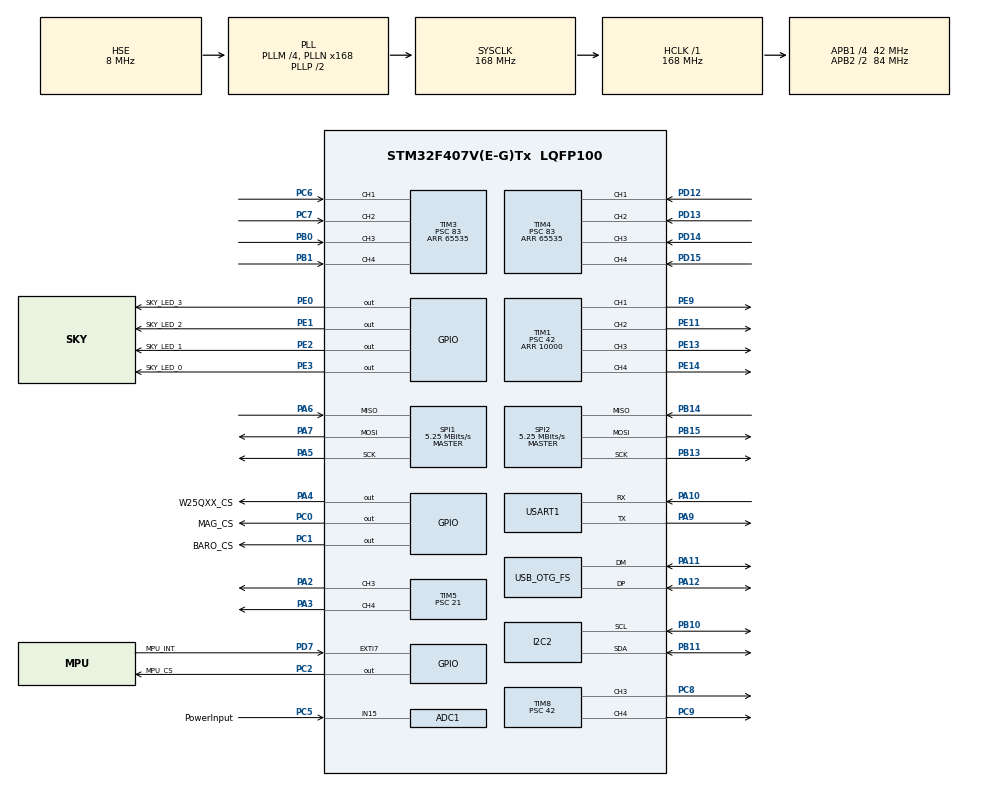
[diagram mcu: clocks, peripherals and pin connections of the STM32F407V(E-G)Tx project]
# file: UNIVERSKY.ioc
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ADC1.Channel-0\#ChannelRegularConversion=ADC_CHANNEL_15
ADC1.Channel-1\#ChannelInjectedConversion=ADC_CHANNEL_15
ADC1.ClockPrescaler=ADC_CLOCK_SYNC_PCLK_DIV4
ADC1.ContinuousConvMode=ENABLE
ADC1.DMAContinuousRequests=DISABLE
ADC1.DataAlign=ADC_DATAALIGN_RIGHT
ADC1.DiscontinuousConvMode=DISABLE
ADC1.EOCSelection=ADC_EOC_SINGLE_CONV
ADC1.EnableAnalogWatchDog=false
ADC1.ExternalTrigConv=ADC_SOFTWARE_START
ADC1.ExternalTrigConvEdge=ADC_EXTERNALTRIGCONVEDGE_NONE
ADC1.InjNumberOfConversion=1
ADC1.InjectedOffset-1\#ChannelInjectedConversion=0
ADC1.NbrOfConversion=1
ADC1.NbrOfConversionFlag=1
ADC1.Rank-0\#ChannelRegularConversion=1
ADC1.Rank-1\#ChannelInjectedConversion=1
ADC1.Resolution=ADC_RESOLUTION_12B
ADC1.SamplingTime-0\#ChannelRegularConversion=ADC_SAMPLETIME_3CYCLES
ADC1.SamplingTime-1\#ChannelInjectedConversion=ADC_SAMPLETIME_3CYCLES
ADC1.ScanConvMode=DISABLE
ADC1.master=1
FREERTOS.INCLUDE_uxTaskGetStackHighWaterMark=1
FREERTOS.INCLUDE_vTaskDelayUntil=1
FREERTOS.Tasks01=mainTask,-3,128,startMainTask,Default,NULL,Dynamic,NULL,NULL
FREERTOS.configMAX_PRIORITIES=15
FREERTOS.configUSE_TIMERS=1
I2C2.I2C_Mode=I2C_Fast
Mcu.Family=STM32F4
Mcu.Name=STM32F407V(E-G)Tx
Mcu.Package=LQFP100
NVIC.OTG_FS_IRQn=true\:15\:0\:true\:false\:true\:true\:false
NVIC.PriorityGroup=NVIC_PRIORITYGROUP_4
NVIC.TIM3_IRQn=true\:5\:0\:false\:false\:true\:true\:true
NVIC.TIM4_IRQn=true\:5\:0\:false\:false\:true\:true\:true
NVIC.TIM8_TRG_COM_TIM14_IRQn=true\:0\:0\:false\:false\:true\:false\:false
NVIC.TimeBase=TIM8_TRG_COM_TIM14_IRQn
NVIC.TimeBaseIP=TIM14
NVIC.USART1_IRQn=true\:6\:0\:true\:false\:true\:true\:true
PA10.Mode=Asynchronous
PA10.Signal=USART1_RX
PA11.Mode=Device_Only
PA11.Signal=USB_OTG_FS_DM
PA12.Mode=Device_Only
PA12.Signal=USB_OTG_FS_DP
PA13.Mode=Serial_Wire
PA13.Signal=SYS_JTMS-SWDIO
PA14.Mode=Serial_Wire
PA14.Signal=SYS_JTCK-SWCLK
PA2.Signal=S_TIM5_CH3
PA3.Signal=S_TIM5_CH4
PA4.GPIO_Label=W25QXX_CS
PA4.GPIO_PuPd=GPIO_PULLUP
PA4.Signal=GPIO_Output
PA5.Mode=Full_Duplex_Master
PA5.Signal=SPI1_SCK
PA6.Mode=Full_Duplex_Master
PA6.Signal=SPI1_MISO
PA7.Mode=Full_Duplex_Master
PA7.Signal=SPI1_MOSI
PA9.Mode=Asynchronous
PA9.Signal=USART1_TX
PB0.GPIO_PuPd=GPIO_PULLDOWN
PB0.GPIO_Speed=GPIO_SPEED_FREQ_VERY_HIGH
PB0.Signal=S_TIM3_CH3
PB1.GPIO_PuPd=GPIO_PULLDOWN
PB1.GPIO_Speed=GPIO_SPEED_FREQ_VERY_HIGH
PB1.Signal=S_TIM3_CH4
PB10.Mode=I2C
PB10.Signal=I2C2_SCL
PB11.Mode=I2C
PB11.Signal=I2C2_SDA
PB13.Mode=Full_Duplex_Master
PB13.Signal=SPI2_SCK
PB14.Mode=Full_Duplex_Master
PB14.Signal=SPI2_MISO
PB15.Mode=Full_Duplex_Master
PB15.Signal=SPI2_MOSI
PC0.GPIO_Label=MAG_CS
PC0.Signal=GPIO_Output
PC1.GPIO_Label=BARO_CS
PC1.Signal=GPIO_Output
PC2.GPIO_Label=MPU_CS
PC2.Signal=GPIO_Output
PC5.GPIO_Label=PowerInput
PC5.Signal=ADCx_IN15
PC6.GPIO_PuPd=GPIO_PULLDOWN
PC6.GPIO_Speed=GPIO_SPEED_FREQ_VERY_HIGH
PC6.Signal=S_TIM3_CH1
PC7.GPIO_PuPd=GPIO_PULLDOWN
PC7.GPIO_Speed=GPIO_SPEED_FREQ_VERY_HIGH
PC7.Signal=S_TIM3_CH2
PC8.Signal=S_TIM8_CH3
PC9.Signal=S_TIM8_CH4
PD12.GPIO_PuPd=GPIO_PULLDOWN
PD12.GPIO_Speed=GPIO_SPEED_FREQ_VERY_HIGH
PD12.Signal=S_TIM4_CH1
PD13.GPIO_PuPd=GPIO_PULLDOWN
PD13.GPIO_Speed=GPIO_SPEED_FREQ_VERY_HIGH
PD13.Signal=S_TIM4_CH2
PD14.GPIO_PuPd=GPIO_PULLDOWN
PD14.GPIO_Speed=GPIO_SPEED_FREQ_VERY_HIGH
PD14.Signal=S_TIM4_CH3
PD15.GPIO_PuPd=GPIO_PULLDOWN
PD15.GPIO_Speed=GPIO_SPEED_FREQ_VERY_HIGH
PD15.Signal=S_TIM4_CH4
PD7.GPIO_Label=MPU_INT
PD7.Signal=GPXTI7
PE0.GPIO_Label=SKY_LED_3
PE0.GPIO_PuPd=GPIO_PULLUP
PE0.GPIO_Speed=GPIO_SPEED_FREQ_HIGH
PE0.Signal=GPIO_Output
PE1.GPIO_Label=SKY_LED_2
PE1.GPIO_PuPd=GPIO_PULLUP
PE1.GPIO_Speed=GPIO_SPEED_FREQ_HIGH
PE1.Signal=GPIO_Output
PE11.Signal=S_TIM1_CH2
PE13.Signal=S_TIM1_CH3
PE14.Signal=S_TIM1_CH4
PE2.GPIO_Label=SKY_LED_1
PE2.GPIO_PuPd=GPIO_PULLUP
PE2.GPIO_Speed=GPIO_SPEED_FREQ_HIGH
PE2.Signal=GPIO_Output
PE3.GPIO_Label=SKY_LED_0
PE3.GPIO_ModeDefaultOutputPP=GPIO_MODE_OUTPUT_OD
PE3.GPIO_Speed=GPIO_SPEED_FREQ_HIGH
PE3.Signal=GPIO_Output
PE9.Signal=S_TIM1_CH1
PH0-OSC_IN.Mode=HSE-External-Oscillator
PH0-OSC_IN.Signal=RCC_OSC_IN
PH1-OSC_OUT.Mode=HSE-External-Oscillator
PH1-OSC_OUT.Signal=RCC_OSC_OUT
ProjectManager.HeapSize=0x600
ProjectManager.StackSize=0x1500
ProjectManager.TargetToolchain=MDK-ARM V5
RCC.48MHZClocksFreq_Value=48000000
RCC.AHBFreq_Value=168000000
RCC.APB1CLKDivider=RCC_HCLK_DIV4
RCC.APB1Freq_Value=42000000
RCC.APB1TimFreq_Value=84000000
RCC.APB2CLKDivider=RCC_HCLK_DIV2
RCC.APB2Freq_Value=84000000
RCC.APB2TimFreq_Value=168000000
RCC.CortexFreq_Value=168000000
RCC.HCLKFreq_Value=168000000
RCC.HSE_VALUE=8000000
RCC.HSI_VALUE=16000000
RCC.LSE_VALUE=32768
RCC.PLLM=4
RCC.PLLN=168
RCC.PLLQ=7
RCC.SYSCLKFreq_VALUE=168000000
RCC.SYSCLKSource=RCC_SYSCLKSOURCE_PLLCLK
RCC.VCOOutputFreq_Value=336000000
SH.ADCx_IN15.0=ADC1_IN15,IN15
SH.S_TIM1_CH1.0=TIM1_CH1,PWM Generation1 CH1
SH.S_TIM1_CH2.0=TIM1_CH2,PWM Generation2 CH2
SH.S_TIM1_CH3.0=TIM1_CH3,PWM Generation3 CH3
SH.S_TIM1_CH4.0=TIM1_CH4,PWM Generation4 CH4
SH.S_TIM3_CH1.0=TIM3_CH1,Input_Capture1_from_TI1
SH.S_TIM3_CH2.0=TIM3_CH2,Input_Capture2_from_TI2
SH.S_TIM3_CH3.0=TIM3_CH3,Input_Capture3_from_TI3
SH.S_TIM3_CH4.0=TIM3_CH4,Input_Capture4_from_TI4
SH.S_TIM4_CH1.0=TIM4_CH1,Input_Capture1_from_TI1
SH.S_TIM4_CH2.0=TIM4_CH2,Input_Capture2_from_TI2
SH.S_TIM4_CH3.0=TIM4_CH3,Input_Capture3_from_TI3
SH.S_TIM4_CH4.0=TIM4_CH4,Input_Capture4_from_TI4
SH.S_TIM5_CH3.0=TIM5_CH3,PWM Generation3 CH3
SH.S_TIM5_CH4.0=TIM5_CH4,PWM Generation4 CH4
SH.S_TIM8_CH3.0=TIM8_CH3,PWM Generation3 CH3
SH.S_TIM8_CH4.0=TIM8_CH4,PWM Generation4 CH4
SPI1.BaudRatePrescaler=SPI_BAUDRATEPRESCALER_16
SPI1.CLKPhase=SPI_PHASE_1EDGE
SPI1.CLKPolarity=SPI_POLARITY_LOW
SPI1.CRCCalculation=SPI_CRCCALCULATION_DISABLE
SPI1.CalculateBaudRate=5.25 MBits/s
SPI1.Direction=SPI_DIRECTION_2LINES
SPI1.Mode=SPI_MODE_MASTER
SPI1.VirtualType=VM_MASTER
SPI2.BaudRatePrescaler=SPI_BAUDRATEPRESCALER_8
SPI2.CLKPolarity=SPI_POLARITY_LOW
SPI2.CalculateBaudRate=5.25 MBits/s
SPI2.Direction=SPI_DIRECTION_2LINES
SPI2.Mode=SPI_MODE_MASTER
SPI2.VirtualType=VM_MASTER
TIM1.Channel-PWM\ Generation1\ CH1=TIM_CHANNEL_1
TIM1.Channel-PWM\ Generation2\ CH2=TIM_CHANNEL_2
TIM1.Channel-PWM\ Generation3\ CH3=TIM_CHANNEL_3
TIM1.Channel-PWM\ Generation4\ CH4=TIM_CHANNEL_4
TIM1.OCIdleState_1=TIM_OCIDLESTATE_SET
TIM1.OCIdleState_2=TIM_OCIDLESTATE_SET
TIM1.OCIdleState_3=TIM_OCIDLESTATE_SET
TIM1.OCIdleState_4=TIM_OCIDLESTATE_SET
TIM1.Period=10000
TIM1.Prescaler=42
TIM1.Pulse-PWM\ Generation1\ CH1=4000
TIM1.Pulse-PWM\ Generation2\ CH2=4000
TIM1.Pulse-PWM\ Generation3\ CH3=4000
TIM1.Pulse-PWM\ Generation4\ CH4=4000
TIM3.Channel-Input_Capture1_from_TI1=TIM_CHANNEL_1
TIM3.Channel-Input_Capture2_from_TI2=TIM_CHANNEL_2
TIM3.Channel-Input_Capture3_from_TI3=TIM_CHANNEL_3
TIM3.Channel-Input_Capture4_from_TI4=TIM_CHANNEL_4
TIM3.ICPolarity_CH1=TIM_INPUTCHANNELPOLARITY_BOTHEDGE
TIM3.ICPolarity_CH2=TIM_INPUTCHANNELPOLARITY_BOTHEDGE
TIM3.ICPolarity_CH3=TIM_INPUTCHANNELPOLARITY_BOTHEDGE
TIM3.ICPolarity_CH4=TIM_INPUTCHANNELPOLARITY_BOTHEDGE
TIM3.Period=65535
TIM3.Prescaler=83
TIM4.Channel-Input_Capture1_from_TI1=TIM_CHANNEL_1
TIM4.Channel-Input_Capture2_from_TI2=TIM_CHANNEL_2
TIM4.Channel-Input_Capture3_from_TI3=TIM_CHANNEL_3
TIM4.Channel-Input_Capture4_from_TI4=TIM_CHANNEL_4
TIM4.ICPolarity_CH1=TIM_INPUTCHANNELPOLARITY_BOTHEDGE
TIM4.ICPolarity_CH2=TIM_INPUTCHANNELPOLARITY_BOTHEDGE
TIM4.ICPolarity_CH3=TIM_INPUTCHANNELPOLARITY_BOTHEDGE
TIM4.ICPolarity_CH4=TIM_INPUTCHANNELPOLARITY_BOTHEDGE
TIM4.Period=65535
TIM4.Prescaler=83
TIM5.Channel-PWM\ Generation3\ CH3=TIM_CHANNEL_3
TIM5.Channel-PWM\ Generation4\ CH4=TIM_CHANNEL_4
TIM5.Period=10000
TIM5.Prescaler=21
TIM5.Pulse-PWM\ Generation3\ CH3=4000
TIM5.Pulse-PWM\ Generation4\ CH4=4000
TIM8.Channel-PWM\ Generation3\ CH3=TIM_CHANNEL_3
TIM8.Channel-PWM\ Generation4\ CH4=TIM_CHANNEL_4
TIM8.OCIdleState_3=TIM_OCIDLESTATE_SET
TIM8.OCIdleState_4=TIM_OCIDLESTATE_SET
TIM8.Period=10000
TIM8.Prescaler=42
TIM8.Pulse-PWM\ Generation3\ CH3=4000
TIM8.Pulse-PWM\ Generation4\ CH4=4000
USART1.VirtualMode=VM_ASYNC
USB_DEVICE.CLASS_NAME_FS=CDC
USB_DEVICE.VirtualMode-CDC_FS=Cdc
USB_DEVICE.VirtualModeFS=Cdc_FS
USB_OTG_FS.VirtualMode=Device_Only
VP_FREERTOS_VS_ENABLE.Mode=Enabled
VP_SYS_VS_tim14.Mode=TIM14
VP_USB_DEVICE_VS_USB_DEVICE_CDC_FS.Mode=CDC_FS
board=UNIVERSKY

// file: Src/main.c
/**
  ******************************************************************************
  * @file           : main.c
  * @brief          : Main program body
  ******************************************************************************
  * This notice applies to any and all portions of this file
  * that are not between comment pairs USER CODE BEGIN and
  * USER CODE END. Other portions of this file, whether
  * inserted by the user or by software development tools
  * are owned by their respective copyright owners.
  *
  * Copyright (c) 2018 STMicroelectronics International N.V.
  * All rights reserved.
  *
  * Redistribution and use in source and binary forms, with or without
  * modification, are permitted, provided that the following conditions are met:
  *
  * 1. Redistribution of source code must retain the above copyright notice,
  *    this list of conditions and the following disclaimer.
  * 2. Redistributions in binary form must reproduce the above copyright notice,
  *    this list of conditions and the following disclaimer in the documentation
  *    and/or other materials provided with the distribution.
  * 3. Neither the name of STMicroelectronics nor the names of other
  *    contributors to this software may be used to endorse or promote products
  *    derived from this software without specific written permission.
  * 4. This software, including modifications and/or derivative works of this
  *    software, must execute solely and exclusively on microcontroller or
  *    microprocessor devices manufactured by or for STMicroelectronics.
  * 5. Redistribution and use of this software other than as permitted under
  *    this license is void and will automatically terminate your rights under
  *    this license.
  *
  * THIS SOFTWARE IS PROVIDED BY STMICROELECTRONICS AND CONTRIBUTORS "AS IS"
  * AND ANY EXPRESS, IMPLIED OR STATUTORY WARRANTIES, INCLUDING, BUT NOT
  * LIMITED TO, THE IMPLIED WARRANTIES OF MERCHANTABILITY, FITNESS FOR A
  * PARTICULAR PURPOSE AND NON-INFRINGEMENT OF THIRD PARTY INTELLECTUAL PROPERTY
  * RIGHTS ARE DISCLAIMED TO THE FULLEST EXTENT PERMITTED BY LAW. IN NO EVENT
  * SHALL STMICROELECTRONICS OR CONTRIBUTORS BE LIABLE FOR ANY DIRECT, INDIRECT,
  * INCIDENTAL, SPECIAL, EXEMPLARY, OR CONSEQUENTIAL DAMAGES (INCLUDING, BUT NOT
  * LIMITED TO, PROCUREMENT OF SUBSTITUTE GOODS OR SERVICES; LOSS OF USE, DATA,
  * OR PROFITS; OR BUSINESS INTERRUPTION) HOWEVER CAUSED AND ON ANY THEORY OF
  * LIABILITY, WHETHER IN CONTRACT, STRICT LIABILITY, OR TORT (INCLUDING
  * NEGLIGENCE OR OTHERWISE) ARISING IN ANY WAY OUT OF THE USE OF THIS SOFTWARE,
  * EVEN IF ADVISED OF THE POSSIBILITY OF SUCH DAMAGE.
  *
  ******************************************************************************
  */
#include "main.h"
#include "stm32f4xx_hal.h"
#include "cmsis_os.h"
#include "adc.h"
#include "i2c.h"
#include "spi.h"
#include "tim.h"
#include "usart.h"
#include "usb_device.h"
#include "gpio.h"

/* USER CODE BEGIN PV */
/* Private variables ---------------------------------------------------------*/

/* USER CODE END PV */

void SystemClock_Config(void);
void MX_FREERTOS_Init(void);

/* USER CODE BEGIN PFP */
/* Private function prototypes -----------------------------------------------*/

/* USER CODE END PFP */

int main(void)
{

  /* MCU Configuration----------------------------------------------------------*/

  /* Reset of all peripherals, Initializes the Flash interface and the Systick. */
  HAL_Init();

  /* Configure the system clock */
  SystemClock_Config();

  /* Initialize all configured peripherals */
  MX_GPIO_Init();
  MX_SPI2_Init();
  MX_TIM3_Init();
  MX_TIM4_Init();
  MX_SPI1_Init();
  MX_TIM1_Init();
  MX_TIM5_Init();
  MX_TIM8_Init();
  MX_ADC1_Init();
  MX_USART1_UART_Init();
  MX_I2C2_Init();

  /* Call init function for freertos objects (in freertos.c) */
  MX_FREERTOS_Init();

  /* Start scheduler */
  osKernelStart();

  /* We should never get here as control is now taken by the scheduler */

  /* Infinite loop */
  while (1)
  {

  }

}

void SystemClock_Config(void)
{

  RCC_OscInitTypeDef RCC_OscInitStruct;
  RCC_ClkInitTypeDef RCC_ClkInitStruct;

    /**Configure the main internal regulator output voltage
    */
  __HAL_RCC_PWR_CLK_ENABLE();

  __HAL_PWR_VOLTAGESCALING_CONFIG(PWR_REGULATOR_VOLTAGE_SCALE1);

    /**Initializes the CPU, AHB and APB busses clocks
    */
  RCC_OscInitStruct.OscillatorType = RCC_OSCILLATORTYPE_HSE;
  RCC_OscInitStruct.HSEState = RCC_HSE_ON;
  RCC_OscInitStruct.PLL.PLLState = RCC_PLL_ON;
  RCC_OscInitStruct.PLL.PLLSource = RCC_PLLSOURCE_HSE;
  RCC_OscInitStruct.PLL.PLLM = 4;
  RCC_OscInitStruct.PLL.PLLN = 168;
  RCC_OscInitStruct.PLL.PLLP = RCC_PLLP_DIV2;
  RCC_OscInitStruct.PLL.PLLQ = 7;
  if (HAL_RCC_OscConfig(&RCC_OscInitStruct) != HAL_OK)
  {
    _Error_Handler(__FILE__, __LINE__);
  }

    /**Initializes the CPU, AHB and APB busses clocks
    */
  RCC_ClkInitStruct.ClockType = RCC_CLOCKTYPE_HCLK|RCC_CLOCKTYPE_SYSCLK
                              |RCC_CLOCKTYPE_PCLK1|RCC_CLOCKTYPE_PCLK2;
  RCC_ClkInitStruct.SYSCLKSource = RCC_SYSCLKSOURCE_PLLCLK;
  RCC_ClkInitStruct.AHBCLKDivider = RCC_SYSCLK_DIV1;
  RCC_ClkInitStruct.APB1CLKDivider = RCC_HCLK_DIV4;
  RCC_ClkInitStruct.APB2CLKDivider = RCC_HCLK_DIV2;

  if (HAL_RCC_ClockConfig(&RCC_ClkInitStruct, FLASH_LATENCY_5) != HAL_OK)
  {
    _Error_Handler(__FILE__, __LINE__);
  }

    /**Configure the Systick interrupt time
    */
  HAL_SYSTICK_Config(HAL_RCC_GetHCLKFreq()/1000);

    /**Configure the Systick
    */
  HAL_SYSTICK_CLKSourceConfig(SYSTICK_CLKSOURCE_HCLK);

  /* SysTick_IRQn interrupt configuration */
  HAL_NVIC_SetPriority(SysTick_IRQn, 15, 0);
}

void HAL_TIM_PeriodElapsedCallback(TIM_HandleTypeDef *htim)
{
  if (htim->Instance == TIM14) {
    HAL_IncTick();
  }
}

void _Error_Handler(char *file, int line)
{
  while(1)
  {
  }
}

/************************ (C) COPYRIGHT STMicroelectronics *****END OF FILE****/

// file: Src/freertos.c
/* USER CODE BEGIN Header */
/**
  ******************************************************************************
  * File Name          : freertos.c
  * Description        : Code for freertos applications
  ******************************************************************************
  * This notice applies to any and all portions of this file
  * that are not between comment pairs USER CODE BEGIN and
  * USER CODE END. Other portions of this file, whether
  * inserted by the user or by software development tools
  * are owned by their respective copyright owners.
  *
  * Copyright (c) 2018 STMicroelectronics International N.V.
  * All rights reserved.
  *
  * Redistribution and use in source and binary forms, with or without
  * modification, are permitted, provided that the following conditions are met:
  *
  * 1. Redistribution of source code must retain the above copyright notice,
  *    this list of conditions and the following disclaimer.
  * 2. Redistributions in binary form must reproduce the above copyright notice,
  *    this list of conditions and the following disclaimer in the documentation
  *    and/or other materials provided with the distribution.
  * 3. Neither the name of STMicroelectronics nor the names of other
  *    contributors to this software may be used to endorse or promote products
  *    derived from this software without specific written permission.
  * 4. This software, including modifications and/or derivative works of this
  *    software, must execute solely and exclusively on microcontroller or
  *    microprocessor devices manufactured by or for STMicroelectronics.
  * 5. Redistribution and use of this software other than as permitted under
  *    this license is void and will automatically terminate your rights under
  *    this license.
  *
  * THIS SOFTWARE IS PROVIDED BY STMICROELECTRONICS AND CONTRIBUTORS "AS IS"
  * AND ANY EXPRESS, IMPLIED OR STATUTORY WARRANTIES, INCLUDING, BUT NOT
  * LIMITED TO, THE IMPLIED WARRANTIES OF MERCHANTABILITY, FITNESS FOR A
  * PARTICULAR PURPOSE AND NON-INFRINGEMENT OF THIRD PARTY INTELLECTUAL PROPERTY
  * RIGHTS ARE DISCLAIMED TO THE FULLEST EXTENT PERMITTED BY LAW. IN NO EVENT
  * SHALL STMICROELECTRONICS OR CONTRIBUTORS BE LIABLE FOR ANY DIRECT, INDIRECT,
  * INCIDENTAL, SPECIAL, EXEMPLARY, OR CONSEQUENTIAL DAMAGES (INCLUDING, BUT NOT
  * LIMITED TO, PROCUREMENT OF SUBSTITUTE GOODS OR SERVICES; LOSS OF USE, DATA,
  * OR PROFITS; OR BUSINESS INTERRUPTION) HOWEVER CAUSED AND ON ANY THEORY OF
  * LIABILITY, WHETHER IN CONTRACT, STRICT LIABILITY, OR TORT (INCLUDING
  * NEGLIGENCE OR OTHERWISE) ARISING IN ANY WAY OUT OF THE USE OF THIS SOFTWARE,
  * EVEN IF ADVISED OF THE POSSIBILITY OF SUCH DAMAGE.
  *
  ******************************************************************************
  */
/* USER CODE END Header */

#include "FreeRTOS.h"
#include "task.h"
#include "main.h"
#include "cmsis_os.h"

/* USER CODE BEGIN Includes */
#include "board.h"
#include "messageQueue.h"
#include "parameter.h"
#include "faultDetect.h"
#include "Icm20689.h"

/* USER CODE END Includes */

osThreadId mainTaskHandle;

void startMainTask(void const * argument);

extern void MX_USB_DEVICE_Init(void);
void MX_FREERTOS_Init(void); /* (MISRA C 2004 rule 8.1) */

void MX_FREERTOS_Init(void) {

  /* Create the thread(s) */
  /* definition and creation of mainTask */
  osThreadDef(mainTask, startMainTask, osPriorityIdle, 0, 128);
  mainTaskHandle = osThreadCreate(osThread(mainTask), NULL);

}

void startMainTask(void const * argument)
{
  /* init code for USB_DEVICE */
  MX_USB_DEVICE_Init();

  /* USER CODE BEGIN startMainTask */
	osDelay(1000);
	 //硬件初始化
	boardInit();
	//飞控参数初始化
	ParamInit();
	//系统故障检测初始化
	FaultDetectInit();
	//消息队列创建
	MessageQueueCreate();
	/*****************************用户任务创建********************************/
	//传感器及模块数据读取任务创建
	ModuleTaskCreate();
	//传感器数据预处理任务创建
	SensorTaskCreate();
	//导航计算任务创建
	NavigationTaskCreate();
	//飞行控制任务创建
  ControlTaskCreate();
	//数据通信任务创建
  MessageTaskCreate();
  /* Infinite loop */
  for(;;)
  {
    osDelay(1);
  }
  /* USER CODE END startMainTask */
}

/************************ (C) COPYRIGHT STMicroelectronics *****END OF FILE****/
